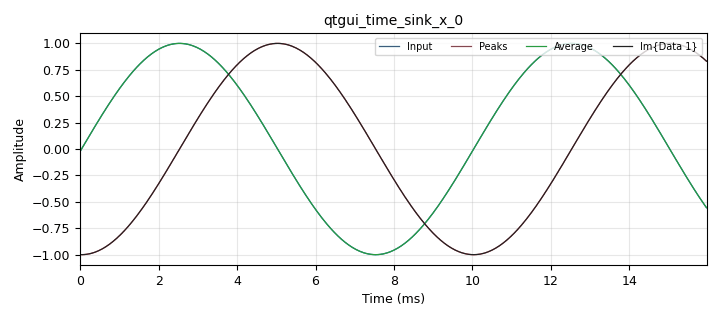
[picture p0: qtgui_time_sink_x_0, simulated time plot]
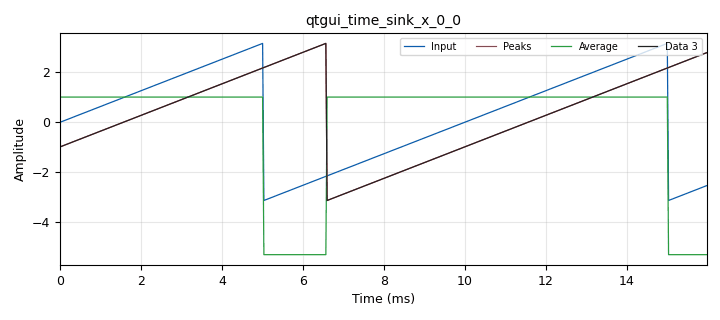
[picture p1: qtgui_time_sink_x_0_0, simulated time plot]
options:
  parameters:
    generate_options: qt_gui
    id: top_block
    output_language: python
  states: {}

blocks:
- name: frequency
  id: variable
  parameters:
    value: 1e2
  states: {}
- name: samp_rate
  id: variable
  parameters:
    value: '32000'
  states: {}
- name: analog_sig_source_x_0
  id: analog_sig_source_x
  parameters:
    amp: '1'
    freq: frequency
    offset: '0'
    phase: '0'
    samp_rate: samp_rate
    type: complex
    waveform: analog.GR_COS_WAVE
  states: {}
- name: analog_sig_source_x_0_0
  id: analog_sig_source_x
  parameters:
    amp: '1'
    freq: frequency
    offset: '0'
    phase: '0'
    samp_rate: samp_rate
    type: complex
    waveform: analog.GR_COS_WAVE
  states: {}
- name: blocks_complex_to_magphase_0
  id: blocks_complex_to_magphase
  parameters: {}
  states: {}
- name: blocks_complex_to_magphase_0_0
  id: blocks_complex_to_magphase
  parameters: {}
  states: {}
- name: blocks_delay_0
  id: blocks_delay
  parameters:
    delay: '50'
    type: complex
  states: {}
- name: blocks_magphase_to_complex_0
  id: blocks_magphase_to_complex
  parameters: {}
  states: {}
- name: blocks_sub_xx_0_0
  id: blocks_sub_xx
  parameters:
    type: float
  states: {}
- name: blocks_sub_xx_0_0_0
  id: blocks_sub_xx
  parameters:
    type: float
  states: {}
- name: blocks_throttle_0
  id: blocks_throttle
  parameters:
    samples_per_second: samp_rate
    type: complex
  states: {}
- name: blocks_throttle_0_0
  id: blocks_throttle
  parameters:
    samples_per_second: samp_rate
    type: complex
  states: {}
- name: blocks_vector_sink_x_0
  id: blocks_vector_sink_x
  parameters:
    type: float
  states: {}
- name: qtgui_time_sink_x_0
  id: qtgui_time_sink_x
  parameters:
    autoscale: 'True'
    ctrlpanel: 'True'
    entags: 'False'
    grid: 'True'
    label1: Input
    label2: Peaks
    label3: Average
    label4: ''
    nconnections: '2'
    size: '512'
    srate: samp_rate
    tr_mode: qtgui.TRIG_MODE_AUTO
    type: complex
    ymax: '1.5'
    ymin: '-1.5'
  states: {}
- name: qtgui_time_sink_x_0_0
  id: qtgui_time_sink_x
  parameters:
    autoscale: 'True'
    ctrlpanel: 'True'
    entags: 'False'
    grid: 'True'
    label1: Input
    label2: Peaks
    label3: Average
    label4: ''
    nconnections: '4'
    size: '512'
    srate: samp_rate
    tr_mode: qtgui.TRIG_MODE_AUTO
    type: float
    ymax: '1.5'
    ymin: '-1.5'
  states: {}

connections:
- [analog_sig_source_x_0, '0', blocks_throttle_0_0, '0']
- [analog_sig_source_x_0_0, '0', blocks_delay_0, '0']
- [blocks_complex_to_magphase_0, '0', blocks_magphase_to_complex_0, '0']
- [blocks_complex_to_magphase_0, '1', blocks_sub_xx_0_0, '0']
- [blocks_complex_to_magphase_0, '1', blocks_sub_xx_0_0_0, '0']
- [blocks_complex_to_magphase_0, '1', qtgui_time_sink_x_0_0, '0']
- [blocks_complex_to_magphase_0_0, '0', blocks_vector_sink_x_0, '0']
- [blocks_complex_to_magphase_0_0, '1', blocks_sub_xx_0_0, '1']
- [blocks_complex_to_magphase_0_0, '1', qtgui_time_sink_x_0_0, '1']
- [blocks_delay_0, '0', blocks_throttle_0, '0']
- [blocks_magphase_to_complex_0, '0', qtgui_time_sink_x_0, '0']
- [blocks_sub_xx_0_0, '0', blocks_sub_xx_0_0_0, '1']
- [blocks_sub_xx_0_0, '0', qtgui_time_sink_x_0_0, '2']
- [blocks_sub_xx_0_0_0, '0', blocks_magphase_to_complex_0, '1']
- [blocks_sub_xx_0_0_0, '0', qtgui_time_sink_x_0_0, '3']
- [blocks_throttle_0, '0', blocks_complex_to_magphase_0_0, '0']
- [blocks_throttle_0, '0', qtgui_time_sink_x_0, '1']
- [blocks_throttle_0_0, '0', blocks_complex_to_magphase_0, '0']

metadata:
  file_format: 1
